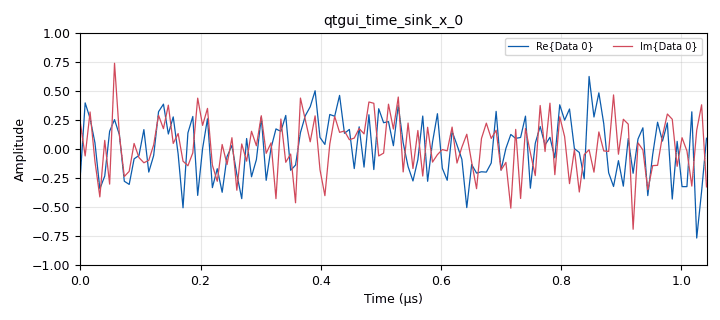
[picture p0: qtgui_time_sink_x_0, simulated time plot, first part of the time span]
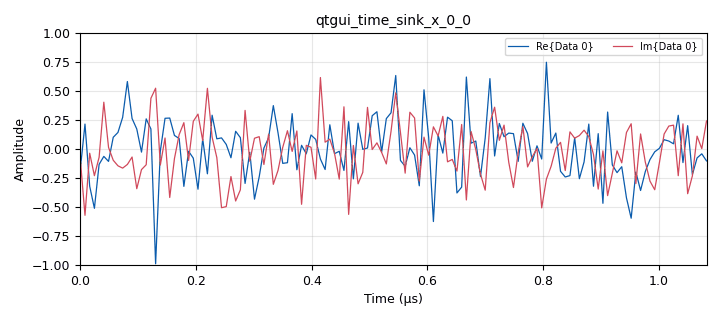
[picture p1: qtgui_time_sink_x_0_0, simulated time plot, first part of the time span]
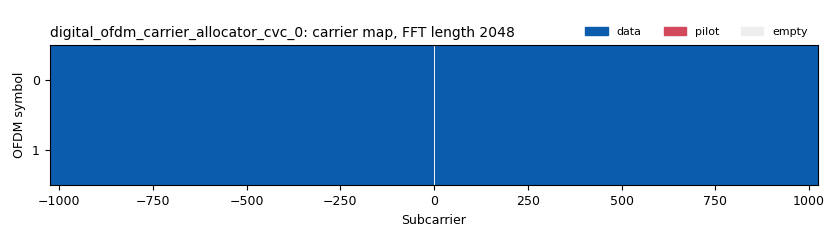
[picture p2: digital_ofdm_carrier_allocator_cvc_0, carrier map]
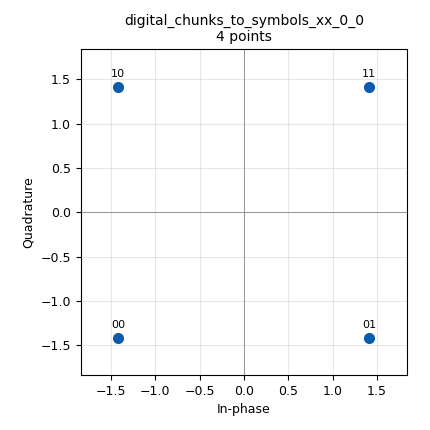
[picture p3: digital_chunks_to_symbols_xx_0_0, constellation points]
options:
  parameters:
    category: Custom
    description: USRP OFDM radar zero-Doppler range profile (full 0~R_max). RX packet_len tags via echotimer; range spectrum via qtgui_vector_sink_f.
    generate_options: qt_gui
    id: usrp_ofdm_echotimer_dd
    output_language: python
  states: {}

blocks:
- name: fft_len
  id: variable
  parameters:
    value: '2048'
  states: {}
- name: subcarrier_spacing
  id: variable
  parameters:
    value: 60e3
  states: {}
- name: zeropadding_fac
  id: variable
  parameters:
    value: '2'
  states: {}
- name: samp_rate
  id: variable
  parameters:
    value: int(fft_len * subcarrier_spacing)
  states: {}
- name: R_max
  id: variable
  parameters:
    comment: 最大不模糊距离 (m)，R = c/(2·BW)·N_fft
    value: 3e8/2/samp_rate*fft_len
  states: {}
- name: range_bin_step
  id: variable
  parameters:
    comment: 距离谱横轴步进 (m/bin)；GRC 显示 305.176m = 0.305 m
    value: 3e8/(2*int(fft_len*subcarrier_spacing)*zeropadding_fac)
  states: {}
- name: RX_gain0
  id: variable_qtgui_range
  parameters:
    gui_hint: 3,3,1,1
    label: RX Gain
    start: '0'
    step: '1'
    stop: '50'
    value: '20'
  states: {}
- name: RX_gain1
  id: variable_qtgui_range
  parameters:
    gui_hint: 0,3,1,1
    label: RX Gain
    start: '0'
    step: '1'
    stop: '50'
    value: '20'
  states: {}
- name: TX_gain0
  id: variable_qtgui_range
  parameters:
    gui_hint: 3,2,1,1
    label: TX Gain
    start: '0'
    step: '1'
    stop: '50'
    value: '20'
  states: {}
- name: TX_gain1
  id: variable_qtgui_range
  parameters:
    gui_hint: 0,2,1,1
    label: TX Gain
    start: '0'
    step: '1'
    stop: '50'
    value: '20'
  states: {}
- name: freq0
  id: variable
  parameters:
    value: 6.1e9
  states: {}
- name: freq1
  id: variable
  parameters:
    value: 5.9e9
  states: {}
- name: length_tag_key
  id: variable
  parameters:
    value: '"packet_len"'
  states: {}
- name: min_out_buf_val
  id: variable
  parameters:
    value: packet_len*2
  states: {}
- name: multi_fac0
  id: variable_qtgui_range
  parameters:
    gui_hint: 3,1,1,1
    label: TX scale
    start: '0'
    step: '0.001'
    stop: '1'
    value: '0.004'
  states: {}
- name: multi_fac1
  id: variable_qtgui_range
  parameters:
    gui_hint: 0,1,1,1
    label: TX scale
    start: '0'
    step: '0.001'
    stop: '1'
    value: '0.004'
  states: {}
- name: n_carriers
  id: variable
  parameters:
    comment: occupied subcarriers (full band minus DC); matches gr_setup.resolve_gr_carrier_tuples
    value: fft_len - 2
  states: {}
- name: num_delay_samp0
  id: variable_qtgui_range
  parameters:
    comment: Recalibrate after fft_len/rate change; align loopback peak to 0 m
    gui_hint: 3,0,1,1
    label: Number of delayed samples
    start: '0'
    step: '1'
    stop: packet_len
    value: '161'
  states: {}
- name: num_delay_samp1
  id: variable_qtgui_range
  parameters:
    comment: Recalibrate after fft_len/rate change; align loopback peak to 0 m
    gui_hint: 0,0,1,1
    label: Number of delayed samples
    start: '0'
    step: '1'
    stop: packet_len
    value: '161'
  states: {}
- name: occupied_carriers
  id: variable
  parameters:
    value: list((list(range(-n_carriers//2, 0)) + list(range(1, n_carriers//2 + 1)),))
  states: {}
- name: packet_len
  id: variable
  parameters:
    comment: QPSK bytes per burst; derived from CPI symbol count
    value: transpose_len * n_carriers // 4
  states: {}
- name: payload_mod
  id: variable
  parameters:
    value: digital.constellation_qpsk()
  states: {}
- name: qpsk_symbols_per_packet
  id: variable
  parameters:
    comment: QPSK complex symbols per burst after repack_bits
    value: transpose_len * n_carriers
  states: {}
- name: transpose_len
  id: variable
  parameters:
    comment: CPI OFDM symbols per burst; 4 avoids qpsk>8192 sched limit at fft_len=2048
    value: '4'
  states: {}
- name: wait_to_start
  id: variable
  parameters:
    value: '0.03'
  states: {}
- name: address0
  id: parameter
  parameters:
    comment: USRP 33ABFDE; QSFP 11.2; external 10MHz+PPS
    label: address0 (33ABFDE)
    type: str
    value: '"type=x4xx,serial=33ABFDE,mgmt_addr=192.168.1.101,addr=192.168.11.2,clock_source=external,time_source=external"'
  states: {}
- name: address1
  id: parameter
  parameters:
    comment: USRP 349B642; QSFP 10.2; external 10MHz+PPS
    label: address1 (349B642)
    type: str
    value: '"type=x4xx,serial=349B642,mgmt_addr=192.168.1.100,addr=192.168.10.2,clock_source=external,time_source=external"'
  states: {}
- name: analog_random_source_x_0
  id: analog_random_source_x
  parameters:
    max: '255'
    min: '0'
    num_samps: packet_len
    repeat: 'True'
    type: byte
  states: {}
- name: analog_random_source_x_0_0
  id: analog_random_source_x
  parameters:
    max: '255'
    min: '0'
    num_samps: packet_len
    repeat: 'True'
    type: byte
  states: {}
- name: blocks_complex_to_mag_squared_0
  id: blocks_complex_to_mag_squared
  parameters:
    vlen: fft_len*zeropadding_fac
  states: {}
- name: blocks_complex_to_mag_squared_0_0
  id: blocks_complex_to_mag_squared
  parameters:
    vlen: fft_len*zeropadding_fac
  states: {}
- name: blocks_integrate_xx_0
  id: blocks_integrate_xx
  parameters:
    comment: Non-coherent sum over CPI symbols (decim=transpose_len)
    decim: transpose_len
    type: float
    vlen: fft_len*zeropadding_fac
  states: {}
- name: blocks_integrate_xx_0_0
  id: blocks_integrate_xx
  parameters:
    comment: Non-coherent sum over CPI symbols (decim=transpose_len)
    decim: transpose_len
    type: float
    vlen: fft_len*zeropadding_fac
  states: {}
- name: blocks_multiply_const_vxx_0
  id: blocks_multiply_const_vxx
  parameters:
    const: multi_fac1
    minoutbuf: int(2*transpose_len*(fft_len+fft_len/4))
    type: complex
  states: {}
- name: blocks_multiply_const_vxx_0_0
  id: blocks_multiply_const_vxx
  parameters:
    const: multi_fac0
    minoutbuf: int(2*transpose_len*(fft_len+fft_len/4))
    type: complex
  states: {}
- name: blocks_nlog10_ff_0
  id: blocks_nlog10_ff
  parameters:
    k: '0'
    n: '10'
    vlen: fft_len*zeropadding_fac
  states: {}
- name: blocks_nlog10_ff_0_0
  id: blocks_nlog10_ff
  parameters:
    k: '0'
    n: '10'
    vlen: fft_len*zeropadding_fac
  states: {}
- name: blocks_repack_bits_bb_0
  id: blocks_repack_bits_bb
  parameters:
    endianness: gr.GR_LSB_FIRST
    k: '8'
    l: payload_mod.bits_per_symbol()
    len_tag_key: length_tag_key
    minoutbuf: 2*qpsk_symbols_per_packet
  states: {}
- name: blocks_repack_bits_bb_0_0
  id: blocks_repack_bits_bb
  parameters:
    endianness: gr.GR_LSB_FIRST
    k: '8'
    l: payload_mod.bits_per_symbol()
    len_tag_key: length_tag_key
    minoutbuf: 2*qpsk_symbols_per_packet
  states: {}
- name: blocks_stream_to_tagged_stream_0
  id: blocks_stream_to_tagged_stream
  parameters:
    len_tag_key: length_tag_key
    minoutbuf: 2*qpsk_symbols_per_packet
    packet_len: packet_len
    type: byte
  states: {}
- name: blocks_stream_to_tagged_stream_0_0
  id: blocks_stream_to_tagged_stream
  parameters:
    len_tag_key: length_tag_key
    minoutbuf: 2*qpsk_symbols_per_packet
    packet_len: packet_len
    type: byte
  states: {}
- name: digital_chunks_to_symbols_xx_0_0
  id: digital_chunks_to_symbols_xx
  parameters:
    dimension: '1'
    in_type: byte
    minoutbuf: 2*qpsk_symbols_per_packet
    out_type: complex
    symbol_table: payload_mod.points()
  states: {}
- name: digital_chunks_to_symbols_xx_0_0_0
  id: digital_chunks_to_symbols_xx
  parameters:
    dimension: '1'
    in_type: byte
    minoutbuf: 2*qpsk_symbols_per_packet
    out_type: complex
    symbol_table: payload_mod.points()
  states: {}
- name: digital_ofdm_carrier_allocator_cvc_0
  id: digital_ofdm_carrier_allocator_cvc
  parameters:
    fft_len: fft_len
    len_tag_key: length_tag_key
    minoutbuf: 4*transpose_len
    occupied_carriers: occupied_carriers
    output_is_shifted: 'True'
    pilot_carriers: ((),)
    pilot_symbols: ((),)
    sync_words: ()
  states: {}
- name: digital_ofdm_carrier_allocator_cvc_0_0
  id: digital_ofdm_carrier_allocator_cvc
  parameters:
    fft_len: fft_len
    len_tag_key: length_tag_key
    minoutbuf: 4*transpose_len
    occupied_carriers: occupied_carriers
    output_is_shifted: 'True'
    pilot_carriers: ((),)
    pilot_symbols: ((),)
    sync_words: ()
  states: {}
- name: digital_ofdm_cyclic_prefixer_0
  id: digital_ofdm_cyclic_prefixer
  parameters:
    cp_len: fft_len//4
    input_size: fft_len
    minoutbuf: int(2*transpose_len*(fft_len+fft_len/4))
    tagname: length_tag_key
  states: {}
- name: digital_ofdm_cyclic_prefixer_0_0
  id: digital_ofdm_cyclic_prefixer
  parameters:
    cp_len: fft_len//4
    input_size: fft_len
    minoutbuf: int(2*transpose_len*(fft_len+fft_len/4))
    tagname: length_tag_key
  states: {}
- name: fft_vxx_0
  id: fft_vxx
  parameters:
    fft_size: fft_len
    forward: 'False'
    minoutbuf: 2*transpose_len
    shift: 'True'
    type: complex
    window: ()
  states: {}
- name: fft_vxx_0_0
  id: fft_vxx
  parameters:
    fft_size: fft_len
    forward: 'True'
    minoutbuf: 2*transpose_len
    shift: 'True'
    type: complex
    window: ()
  states: {}
- name: fft_vxx_0_0_0
  id: fft_vxx
  parameters:
    fft_size: fft_len
    forward: 'True'
    minoutbuf: 2*transpose_len
    shift: 'True'
    type: complex
    window: ()
  states: {}
- name: fft_vxx_0_1
  id: fft_vxx
  parameters:
    fft_size: fft_len*zeropadding_fac
    forward: 'True'
    shift: 'False'
    type: complex
    window: window.blackmanharris(fft_len*zeropadding_fac)
  states: {}
- name: fft_vxx_0_1_0
  id: fft_vxx
  parameters:
    fft_size: fft_len*zeropadding_fac
    forward: 'True'
    shift: 'False'
    type: complex
    window: window.blackmanharris(fft_len*zeropadding_fac)
  states: {}
- name: fft_vxx_0_2
  id: fft_vxx
  parameters:
    fft_size: fft_len
    forward: 'False'
    minoutbuf: 2*transpose_len
    shift: 'True'
    type: complex
    window: ()
  states: {}
- name: qtgui_freq_sink_x_0
  id: qtgui_freq_sink_x
  parameters:
    bw: samp_rate
    fc: '0'
    fftsize: fft_len
    gui_hint: 2,2,1,2
    type: complex
  states: {}
- name: qtgui_freq_sink_x_0_0
  id: qtgui_freq_sink_x
  parameters:
    bw: samp_rate
    fc: '0'
    fftsize: fft_len
    gui_hint: 5,2,1,2
    type: complex
  states: {}
- name: qtgui_time_sink_x_0
  id: qtgui_time_sink_x
  parameters:
    gui_hint: 2,0,1,2
    size: fft_len + fft_len//4
    srate: samp_rate
    type: complex
  states: {}
- name: qtgui_time_sink_x_0_0
  id: qtgui_time_sink_x
  parameters:
    gui_hint: 5,0,1,2
    size: fft_len + fft_len//4
    srate: samp_rate
    type: complex
  states: {}
- name: qtgui_vector_sink_f_0
  id: qtgui_vector_sink_f
  parameters:
    autoscale: 'True'
    comment: Zero-Doppler range profile, 0~R_max m (full spectrum)
    grid: 'True'
    gui_hint: 1,0,1,4
    label1: Range Profile
    name: '"Device 1 Range Profile"'
    vlen: fft_len*zeropadding_fac
    x_axis_label: '"Range"'
    x_start: '0'
    x_step: range_bin_step
    x_units: '"m"'
    y_axis_label: '"Power (dB)"'
    y_units: '"dB"'
    ymax: '0'
    ymin: '-40'
  states: {}
- name: qtgui_vector_sink_f_0_0
  id: qtgui_vector_sink_f
  parameters:
    autoscale: 'True'
    comment: Zero-Doppler range profile, 0~R_max m (full spectrum)
    grid: 'True'
    gui_hint: 4,0,1,4
    label1: Range Profile
    name: '"Device 0 Range Profile"'
    vlen: fft_len*zeropadding_fac
    x_axis_label: '"Range"'
    x_start: '0'
    x_step: range_bin_step
    x_units: '"m"'
    y_axis_label: '"Power (dB)"'
    y_units: '"dB"'
    ymax: '0'
    ymin: '-40'
  states: {}
- name: radar_ofdm_cyclic_prefix_remover_cvc_0
  id: radar_ofdm_cyclic_prefix_remover_cvc
  parameters:
    cp_len: fft_len//4
    fft_len: fft_len
    len_key: '"packet_len"'
    minoutbuf: 2*transpose_len
  states: {}
- name: radar_ofdm_cyclic_prefix_remover_cvc_0_0
  id: radar_ofdm_cyclic_prefix_remover_cvc
  parameters:
    cp_len: fft_len//4
    fft_len: fft_len
    len_key: '"packet_len"'
    minoutbuf: 2*transpose_len
  states: {}
- name: radar_ofdm_divide_vcvc_0
  id: radar_ofdm_divide_vcvc
  parameters:
    discarded_carriers: ()
    len_key: '"packet_len"'
    minoutbuf: 2*transpose_len
    num_sync_words: '0'
    vlen_in: fft_len
    vlen_out: (fft_len)*zeropadding_fac
  states: {}
- name: radar_ofdm_divide_vcvc_0_0
  id: radar_ofdm_divide_vcvc
  parameters:
    discarded_carriers: ()
    len_key: '"packet_len"'
    minoutbuf: 2*transpose_len
    num_sync_words: '0'
    vlen_in: fft_len
    vlen_out: (fft_len)*zeropadding_fac
  states: {}
- name: radar_usrp_echotimer_cc_0
  id: radar_usrp_echotimer_cc
  parameters:
    antenna_rx: '''RX1'''
    antenna_tx: '''TX/RX'''
    args_rx: address1
    args_tx: address1
    center_freq: freq1
    channel_rx: '0'
    channel_tx: '0'
    clock_source_rx: '''external'''
    clock_source_tx: '''external'''
    gain_rx: RX_gain1
    gain_tx: TX_gain1
    minoutbuf: min_out_buf_val
    num_delay_samps: int(num_delay_samp1)
    samp_rate: int(samp_rate)
    time_source_rx: '''external'''
    time_source_tx: '''external'''
    timeout_rx: '0.2'
    timeout_tx: '0.2'
    wait_rx: wait_to_start
    wait_tx: wait_to_start
  states: {}
- name: radar_usrp_echotimer_cc_0_0
  id: radar_usrp_echotimer_cc
  parameters:
    antenna_rx: '''RX1'''
    antenna_tx: '''TX/RX'''
    args_rx: address0
    args_tx: address0
    center_freq: freq0
    channel_rx: '0'
    channel_tx: '0'
    clock_source_rx: '''external'''
    clock_source_tx: '''external'''
    gain_rx: RX_gain0
    gain_tx: TX_gain0
    minoutbuf: min_out_buf_val
    num_delay_samps: int(num_delay_samp0)
    samp_rate: int(samp_rate)
    time_source_rx: '''external'''
    time_source_tx: '''external'''
    timeout_rx: '0.2'
    timeout_tx: '0.2'
    wait_rx: wait_to_start
    wait_tx: wait_to_start
  states: {}

connections:
- [analog_random_source_x_0, '0', blocks_stream_to_tagged_stream_0, '0']
- [analog_random_source_x_0_0, '0', blocks_stream_to_tagged_stream_0_0, '0']
- [blocks_complex_to_mag_squared_0, '0', blocks_integrate_xx_0, '0']
- [blocks_complex_to_mag_squared_0_0, '0', blocks_integrate_xx_0_0, '0']
- [blocks_integrate_xx_0, '0', blocks_nlog10_ff_0, '0']
- [blocks_integrate_xx_0_0, '0', blocks_nlog10_ff_0_0, '0']
- [blocks_multiply_const_vxx_0, '0', qtgui_time_sink_x_0, '0']
- [blocks_multiply_const_vxx_0, '0', radar_usrp_echotimer_cc_0, '0']
- [blocks_multiply_const_vxx_0_0, '0', qtgui_time_sink_x_0_0, '0']
- [blocks_multiply_const_vxx_0_0, '0', radar_usrp_echotimer_cc_0_0, '0']
- [blocks_nlog10_ff_0, '0', qtgui_vector_sink_f_0, '0']
- [blocks_nlog10_ff_0_0, '0', qtgui_vector_sink_f_0_0, '0']
- [blocks_repack_bits_bb_0, '0', digital_chunks_to_symbols_xx_0_0, '0']
- [blocks_repack_bits_bb_0_0, '0', digital_chunks_to_symbols_xx_0_0_0, '0']
- [blocks_stream_to_tagged_stream_0, '0', blocks_repack_bits_bb_0, '0']
- [blocks_stream_to_tagged_stream_0_0, '0', blocks_repack_bits_bb_0_0, '0']
- [digital_chunks_to_symbols_xx_0_0, '0', digital_ofdm_carrier_allocator_cvc_0, '0']
- [digital_chunks_to_symbols_xx_0_0_0, '0', digital_ofdm_carrier_allocator_cvc_0_0, '0']
- [digital_ofdm_carrier_allocator_cvc_0, '0', fft_vxx_0, '0']
- [digital_ofdm_carrier_allocator_cvc_0, '0', radar_ofdm_divide_vcvc_0, '0']
- [digital_ofdm_carrier_allocator_cvc_0_0, '0', fft_vxx_0_2, '0']
- [digital_ofdm_carrier_allocator_cvc_0_0, '0', radar_ofdm_divide_vcvc_0_0, '0']
- [digital_ofdm_cyclic_prefixer_0, '0', blocks_multiply_const_vxx_0, '0']
- [digital_ofdm_cyclic_prefixer_0_0, '0', blocks_multiply_const_vxx_0_0, '0']
- [fft_vxx_0, '0', digital_ofdm_cyclic_prefixer_0, '0']
- [fft_vxx_0_0, '0', radar_ofdm_divide_vcvc_0, '1']
- [fft_vxx_0_0_0, '0', radar_ofdm_divide_vcvc_0_0, '1']
- [fft_vxx_0_1, '0', blocks_complex_to_mag_squared_0, '0']
- [fft_vxx_0_1_0, '0', blocks_complex_to_mag_squared_0_0, '0']
- [fft_vxx_0_2, '0', digital_ofdm_cyclic_prefixer_0_0, '0']
- [radar_ofdm_cyclic_prefix_remover_cvc_0, '0', fft_vxx_0_0, '0']
- [radar_ofdm_cyclic_prefix_remover_cvc_0_0, '0', fft_vxx_0_0_0, '0']
- [radar_ofdm_divide_vcvc_0, '0', fft_vxx_0_1, '0']
- [radar_ofdm_divide_vcvc_0_0, '0', fft_vxx_0_1_0, '0']
- [radar_usrp_echotimer_cc_0, '0', qtgui_freq_sink_x_0, '0']
- [radar_usrp_echotimer_cc_0, '0', radar_ofdm_cyclic_prefix_remover_cvc_0, '0']
- [radar_usrp_echotimer_cc_0_0, '0', qtgui_freq_sink_x_0_0, '0']
- [radar_usrp_echotimer_cc_0_0, '0', radar_ofdm_cyclic_prefix_remover_cvc_0_0, '0']

metadata:
  file_format: 1
  grc_version: 3.10.12.0
